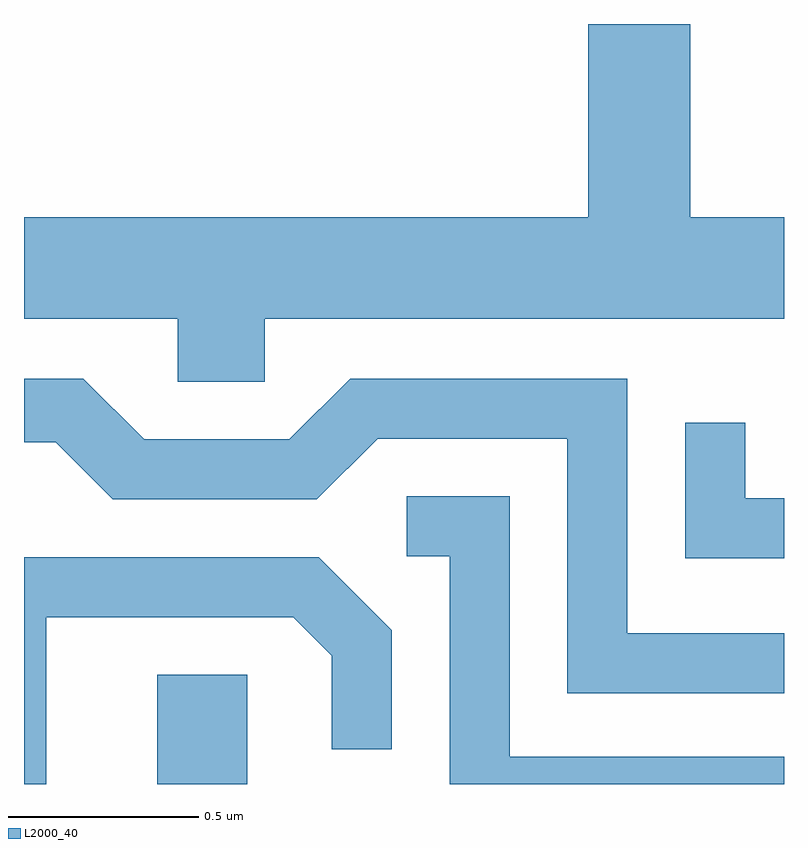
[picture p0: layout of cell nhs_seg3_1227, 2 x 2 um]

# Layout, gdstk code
import gdstk
lib = gdstk.Library(unit=1e-6, precision=1e-09)
def R(c, l, rs):  # rectangles x0, y0, x1, y1
    for r in rs: c.add(gdstk.rectangle(r[:2], r[2:], *l))
def P(c, l, *ps):  # polygons
    for p in ps: c.add(gdstk.Polygon(p, *l))
L2000_40 = (2000, 40)

nhs_seg3_1227 = lib.new_cell('nhs_seg3_1227')
R(nhs_seg3_1227, L2000_40, [(193.961,1246.892,194.199,1247.179)])
P(nhs_seg3_1227, L2000_40, [(194.244,1248.116),(195.611,1248.116),(195.611,1248.384),(195.364,1248.384),(195.364,1248.892),(195.096,1248.892),(195.096,1248.384),(193.611,1248.384),(193.611,1248.116),(194.016,1248.116),(194.016,1247.951),(194.244,1247.951)],
  [(195.611,1247.289),(195.199,1247.289),(195.199,1247.959),(194.469,1247.959),(194.309,1247.799),(193.927,1247.799),(193.767,1247.959),(193.611,1247.959),(193.611,1247.791),(193.694,1247.791),(193.844,1247.641),(194.382,1247.641),(194.542,1247.801),(195.041,1247.801),(195.041,1247.131),(195.611,1247.131)],
  [(195.611,1247.644),(195.509,1247.644),(195.509,1247.843),(195.351,1247.843),(195.351,1247.486),(195.611,1247.486)],
  [(195.611,1246.964),(194.889,1246.964),(194.889,1247.649),(194.618,1247.649),(194.618,1247.491),(194.731,1247.491),(194.731,1246.892),(195.611,1246.892)],
  [(193.669,1247.331),(194.319,1247.331),(194.421,1247.229),(194.421,1246.983),(194.579,1246.983),(194.579,1247.297),(194.387,1247.489),(193.611,1247.489),(193.611,1246.892),(193.669,1246.892)])

lib.write_gds('nhs_seg3_1227.gds')
